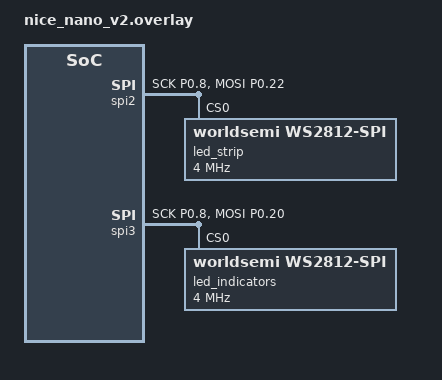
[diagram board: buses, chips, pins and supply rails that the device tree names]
#include <dt-bindings/led/led.h>

#define SPI_FREQ                4000000
#define ZERO_FRAME              0x40
#define ONE_FRAME               0x70
#define LED_COUNT               25
#define LED_INDICATOR_COUNT     3


&spi2 {
    compatible = "nordic,nrf-spim";
    status = "okay";

    pinctrl-0 = <&spi2_default>;
    pinctrl-1 = <&spi2_sleep>;
    pinctrl-names = "default", "sleep";

    led_strip: ws2812@0 {
        compatible = "worldsemi,ws2812-spi";

        /* SPI */
        reg = <0>; /* ignored, but necessary for SPI bindings */
        spi-max-frequency = <SPI_FREQ>;

        /* WS2812 */
        chain-length = <LED_COUNT>;
        color-mapping = <LED_COLOR_ID_GREEN
                         LED_COLOR_ID_RED
                         LED_COLOR_ID_BLUE>;

        spi-one-frame = <ONE_FRAME>;
        spi-zero-frame = <ZERO_FRAME>;
    };
};

&spi3 {
    compatible = "nordic,nrf-spim";
    status = "okay";

    pinctrl-0 = <&spi3_default>;
    pinctrl-1 = <&spi3_sleep>;
    pinctrl-names = "default", "sleep";

    led_indicators: ws2812@0 {
        compatible = "worldsemi,ws2812-spi";

        /* SPI */
        reg = <0>; /* ignored, but necessary for SPI bindings */
        spi-max-frequency = <SPI_FREQ>;

        /* WS2812 */
        chain-length = <LED_INDICATOR_COUNT>;
        color-mapping = <LED_COLOR_ID_GREEN
                         LED_COLOR_ID_RED
                         LED_COLOR_ID_BLUE>;

        spi-one-frame = <ONE_FRAME>;
        spi-zero-frame = <ZERO_FRAME>;
    };
};

&pinctrl {
    spi2_default: spi2_default {
        group1 {
            psels = <NRF_PSEL(SPIM_SCK, 0, 8)>,
                    <NRF_PSEL(SPIM_MOSI, 0, 22)>;
        };
    };

    spi2_sleep: spi2_sleep {
        group1 {
            psels = <NRF_PSEL(SPIM_SCK, 0, 8)>,
                    <NRF_PSEL(SPIM_MOSI, 0, 22)>;
            low-power-enable;
        };
    };

    spi3_default: spi3_default {
        group1 {
            psels = <NRF_PSEL(SPIM_SCK, 0, 8)>,
                    <NRF_PSEL(SPIM_MOSI, 0, 20)>;
        };
    };

    spi3_sleep: spi3_sleep {
        group1 {
            psels = <NRF_PSEL(SPIM_SCK, 0, 8)>,
                    <NRF_PSEL(SPIM_MOSI, 0, 20)>;
            low-power-enable;
        };
    };
};

